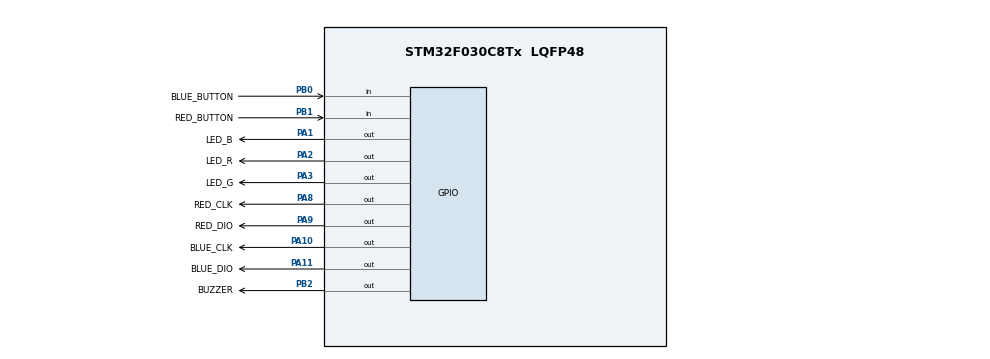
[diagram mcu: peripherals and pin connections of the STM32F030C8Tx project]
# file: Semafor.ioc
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Mcu.Family=STM32F0
Mcu.Name=STM32F030C8Tx
Mcu.Package=LQFP48
PA1.GPIO_Label=LED_B
PA1.Signal=GPIO_Output
PA10.GPIO_Label=BLUE_CLK
PA10.Signal=GPIO_Output
PA11.GPIO_Label=BLUE_DIO
PA11.Signal=GPIO_Output
PA13.Mode=Serial_Wire
PA13.Signal=SYS_SWDIO
PA14.Mode=Serial_Wire
PA14.Signal=SYS_SWCLK
PA2.GPIO_Label=LED_R
PA2.Signal=GPIO_Output
PA3.GPIO_Label=LED_G
PA3.Signal=GPIO_Output
PA8.GPIO_Label=RED_CLK
PA8.Signal=GPIO_Output
PA9.GPIO_Label=RED_DIO
PA9.Signal=GPIO_Output
PB0.GPIO_Label=BLUE_BUTTON
PB0.GPIO_PuPd=GPIO_PULLUP
PB0.Signal=GPIO_Input
PB1.GPIO_Label=RED_BUTTON
PB1.GPIO_PuPd=GPIO_PULLUP
PB1.Signal=GPIO_Input
PB2.GPIO_Label=BUZZER
PB2.Signal=GPIO_Output
ProjectManager.HeapSize=0x200
ProjectManager.StackSize=0x400
ProjectManager.TargetToolchain=STM32CubeIDE
RCC.AHBCLKDivider=RCC_SYSCLK_DIV8
RCC.AHBFreq_Value=1000000
RCC.APB1Freq_Value=1000000
RCC.APB1TimFreq_Value=1000000
RCC.HCLKFreq_Value=1000000
board=custom

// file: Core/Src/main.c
/* USER CODE BEGIN Header */
/**
  ******************************************************************************
  * @file           : main.c
  * @brief          : Main program body
  ******************************************************************************
  * @attention
  *
  * Copyright (c) 2026 STMicroelectronics.
  * All rights reserved.
  *
  * This software is licensed under terms that can be found in the LICENSE file
  * in the root directory of this software component.
  * If no LICENSE file comes with this software, it is provided AS-IS.
  *
  ******************************************************************************
  */
/* USER CODE END Header */
#include "main.h"
#include "gpio.h"

/* USER CODE BEGIN Includes */

#include "Tm1637.h"
#include "setup.h"
#include "points.h"

/* USER CODE END Includes */

void SystemClock_Config(void);

int main(void)
{

  /* MCU Configuration--------------------------------------------------------*/

  /* Reset of all peripherals, Initializes the Flash interface and the Systick. */
  HAL_Init();

  /* Configure the system clock */
  SystemClock_Config();

  /* Initialize all configured peripherals */
  MX_GPIO_Init();
  /* USER CODE BEGIN 2 */

  readSavedTimesFromFlash();
  setupAll();
  writeSavedTimesToFlash();

  uint32_t tickStart = HAL_GetTick();
  int8_t czasJasny = 15;

  /* USER CODE END 2 */

  /* Infinite loop */
  /* USER CODE BEGIN WHILE */
  while (1) {

	if(HAL_GetTick() - tickStart > 1000 * uwTickFreq) {

	  checkPoint(); // Sprawdzanie, która drużyna przejęła cel i reagowanie na to
	  displayDark(czasJasny);
	  if (czasJasny > 0) {
		  czasJasny--;
	  }

	  tickStart = HAL_GetTick();
	}

	sterLed();

	if (processButtons()) {
		czasJasny = 15;
	}
    /* USER CODE END WHILE */

  }
}

void SystemClock_Config(void)
{
  RCC_OscInitTypeDef RCC_OscInitStruct = {0};
  RCC_ClkInitTypeDef RCC_ClkInitStruct = {0};

  /** Initializes the RCC Oscillators according to the specified parameters
  * in the RCC_OscInitTypeDef structure.
  */
  RCC_OscInitStruct.OscillatorType = RCC_OSCILLATORTYPE_HSI;
  RCC_OscInitStruct.HSIState = RCC_HSI_ON;
  RCC_OscInitStruct.HSICalibrationValue = RCC_HSICALIBRATION_DEFAULT;
  RCC_OscInitStruct.PLL.PLLState = RCC_PLL_NONE;
  if (HAL_RCC_OscConfig(&RCC_OscInitStruct) != HAL_OK)
  {
    Error_Handler();
  }

  /** Initializes the CPU, AHB and APB buses clocks
  */
  RCC_ClkInitStruct.ClockType = RCC_CLOCKTYPE_HCLK|RCC_CLOCKTYPE_SYSCLK
                              |RCC_CLOCKTYPE_PCLK1;
  RCC_ClkInitStruct.SYSCLKSource = RCC_SYSCLKSOURCE_HSI;
  RCC_ClkInitStruct.AHBCLKDivider = RCC_SYSCLK_DIV8;
  RCC_ClkInitStruct.APB1CLKDivider = RCC_HCLK_DIV1;

  if (HAL_RCC_ClockConfig(&RCC_ClkInitStruct, FLASH_LATENCY_0) != HAL_OK)
  {
    Error_Handler();
  }
}

void Error_Handler(void)
{
  __disable_irq();
  while (1)
  {
  }
}
